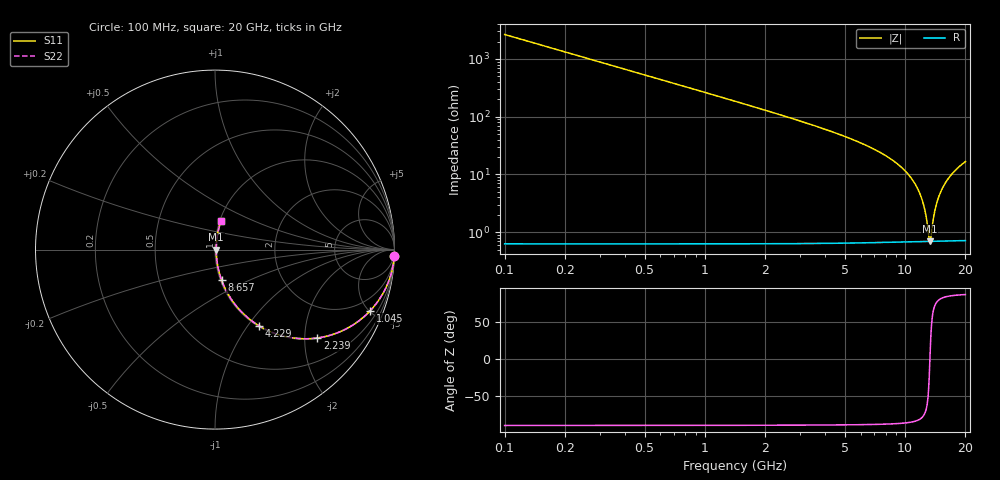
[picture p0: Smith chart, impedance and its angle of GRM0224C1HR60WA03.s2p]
!Murata Part Number: GRM0224C1HR60WA03
!These Parameters are Measured in Series Mode Connection
!Data Generated on Mar 30, 2021
!  o--ll--o
!Port1  Port2
!  o------o
!Operation Temp=25[degC], DC Bias Voltage=0[V]
!Freq. Start=100[MHz] Stop=20[GHz] 401[Steps]
# Hz S RI R 50
!Freq.(Hz) S11(Real) S11(Imag) S21(Real) S21(Imag) S12(Real) S12(Imag) S22(Real) S22(Imag)
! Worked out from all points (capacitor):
!   401 points, 100 MHz to 20 GHz, reference 50 ohm
!   read as one part in series: C = 600 fF near 199.5 MHz
!   lowest |Z| = 698 mohm at 13.28 GHz (marker M1)
!   series resonance near 13.3 GHz, so ESL is about 240 pH
!   S11 on the Smith chart (normalised r, x): 100 MHz: 1, -53; 1.045 GHz: 1.01, -5.04; 2.239 GHz: 1.01, -2.30; 4.229 GHz: 1.01, -1.13; 8.657 GHz: 1.01, -0.35; 20 GHz: 1.01, +0.33
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1e8  0.9986 -0.0376  0.00143 0.0376  0.00143 0.0376  0.9986 -0.0376
2.99e8  0.9874 -0.1113  0.0126 0.1113  0.0126 0.1113  0.9874 -0.1113
4.4825e8  0.972 -0.1644  0.028 0.1644  0.028 0.1644  0.972 -0.1644
6.97e8  0.9347 -0.2462  0.0653 0.2462  0.0653 0.2462  0.9347 -0.2462
1.04525e9  0.8635 -0.3421  0.1365 0.3421  0.1365 0.3421  0.8635 -0.3421
1.54275e9  0.7413 -0.4361  0.2587 0.4361  0.2587 0.4361  0.7413 -0.4361
2.23925e9  0.5694 -0.4924  0.4306 0.4924  0.4306 0.4924  0.5694 -0.4924
3.43325e9  0.3433 -0.4704  0.6567 0.4704  0.6567 0.4704  0.3433 -0.4704
4.22925e9  0.2436 -0.4236  0.7564 0.4236  0.7564 0.4236  0.2436 -0.4236
6.7665e9  0.0829 -0.2645  0.9171 0.2645  0.9171 0.2645  0.0829 -0.2645
8.657e9  0.0363 -0.1689  0.9637 0.1689  0.9637 0.1689  0.0363 -0.1689
1.005e10  0.0191 -0.1102  0.9809 0.1102  0.9809 0.1102  0.0191 -0.1102
1.1244e10  0.0112 -0.066  0.9888 0.066  0.9888 0.066  0.0112 -0.066
1.208975e10  0.00828 -0.0375  0.9917 0.0375  0.9917 0.0375  0.00828 -0.0375
1.2637e10  0.0073 -0.0201  0.9927 0.0201  0.9927 0.0201  0.0073 -0.0201
1.328375e10  0.00692 -0.000534  0.9931 0.000534  0.9931 0.000534  0.00692 -0.000534
1.338325e10  0.00693 0.0024  0.9931 -0.0024  0.9931 -0.0024  0.00693 0.0024
1.39305e10  0.00727 0.0181  0.9927 -0.0181  0.9927 -0.0181  0.00727 0.0181
1.45275e10  0.00817 0.0346  0.9918 -0.0346  0.9918 -0.0346  0.00817 0.0346
1.5423e10  0.0104 0.0581  0.9896 -0.0581  0.9896 -0.0581  0.0104 0.0581
1.67165e10  0.0152 0.0897  0.9848 -0.0897  0.9848 -0.0897  0.0152 0.0897
2e10  0.0336 0.1601  0.9664 -0.1601  0.9664 -0.1601  0.0336 0.1601
